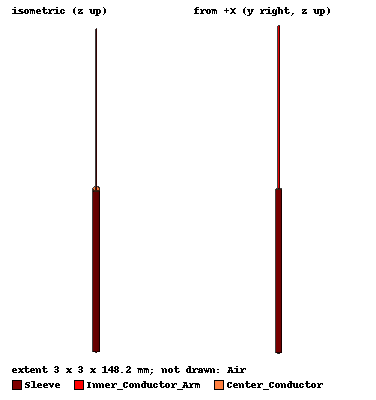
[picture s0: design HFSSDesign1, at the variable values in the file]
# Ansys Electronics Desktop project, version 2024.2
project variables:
  $Conductor_Height = 7.4cm
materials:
  vacuum: permittivity=1
  copper: permeability=0.999991 conductivity=58000000
  polyethylene: permittivity=2.25 dielectric_loss_tangent=0.001
  PVC plastic: permittivity=2.7 dielectric_loss_tangent=0.007
  air: permittivity=1.0006 permeability=1.0000004
  pec: conductivity=1e+30

design HFSSDesign1 (HFSS, HFSS Terminal Network, model units mm)
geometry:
  Inner_Conductor [copper, solve inside] = cylinder(axis=Z, base_centre=(0mm, 0mm, 0mm), radius=0.24mm, height=-$Conductor_Height)
  Dielectric [polyethylene] = cylinder(axis=Z, base_centre=(0mm, 0mm, 0mm), radius=(1.52/2) mm, height=-$Conductor_Height)
  Shield [copper] = cylinder(axis=Z, base_centre=(0mm, 0mm, 0mm), radius=(1.98/2) mm, height=-$Conductor_Height)
  Jacket [PVC plastic] = cylinder(axis=Z, base_centre=(0mm, 0mm, 0mm), radius=(2.79/2) mm, height=-$Conductor_Height)
  Inner_Conductor_1 = Inner_Conductor.copy()
  Shield.subtract(Inner_Conductor_1)
  Dielectric_1 = Dielectric.copy()
  Jacket.subtract(Dielectric_1)
  Sleeve [copper] = cylinder(axis=Z, base_centre=(0mm, 0mm, 0mm), radius=1.5mm, height=-$Conductor_Height)
  Inner_Conductor_Arm [copper] = cylinder(axis=Z, base_centre=(0mm, 0mm, 0mm), radius=0.24mm, height=7.4cm)
  Center_Conductor [copper] = cylinder(axis=Z, base_centre=(0mm, 0mm, 0mm), radius=1.5mm, height=0.25mm)
  Air [air] = box(corner=(-8.1cm, -8.1cm, -7.4cm), size=(16.2cm, 16.2cm, (32.4-16.2+7.4) cm))
  Inner_Conductor_Arm_1 = Inner_Conductor_Arm.copy()
  Center_Conductor.subtract(Inner_Conductor_Arm_1)
  Dielectric_2 = Dielectric.copy()
  Shield.subtract(Dielectric_2)
  Dielectric_3 = Dielectric.copy()
  Inner_Conductor_2 = Inner_Conductor.copy()
  Shield_1 = Shield.copy()
  Sleeve.subtract(Dielectric_3, Inner_Conductor_2, Shield_1)
  Sleeve_1 = Sleeve.copy()
  Jacket.subtract(Sleeve_1)
  Inner_Conductor_3 = Inner_Conductor.copy()
  Dielectric.subtract(Inner_Conductor_3)
  Cylinder1 [pec] = cylinder(axis=Z, base_centre=(0mm, 0mm, -74mm), radius=0.24mm, height=-0.25mm)
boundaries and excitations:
  Rad1: Radiation Objects=Air
  Inner_Conductor_T1: Terminal port=1 Edges=Inner_Conductor.edge(at (-0.24, 0, -74)) TerminalResistance=50ohm
  1: Wave Port Faces=Inner_Conductor.face(-z end) WavePortType=Terminal NumModes=1
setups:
  Setup1: HfssDriven Frequency=0.915GHz MaxDeltaS=0.02 MaximumPasses=6 MinimumPasses=1 MinimumConvergedPasses=1 PercentRefinement=30 BasisOrder=1 PortAccuracy=2 DrivenSolverType="Direct Solver"
    sweep Sweep: 0.4575GHz to 1.3725GHz, 401 points; Type=Interpolating InterpTolerance=0.5 InterpMaxSolns=250 PassivityErrorTolerance=0.0001
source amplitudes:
  1:1: 1V 0deg
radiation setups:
  Infinite Sphere1: Infinite Sphere Theta=0deg..180deg step 2deg Phi=-180deg..180deg step 2deg
